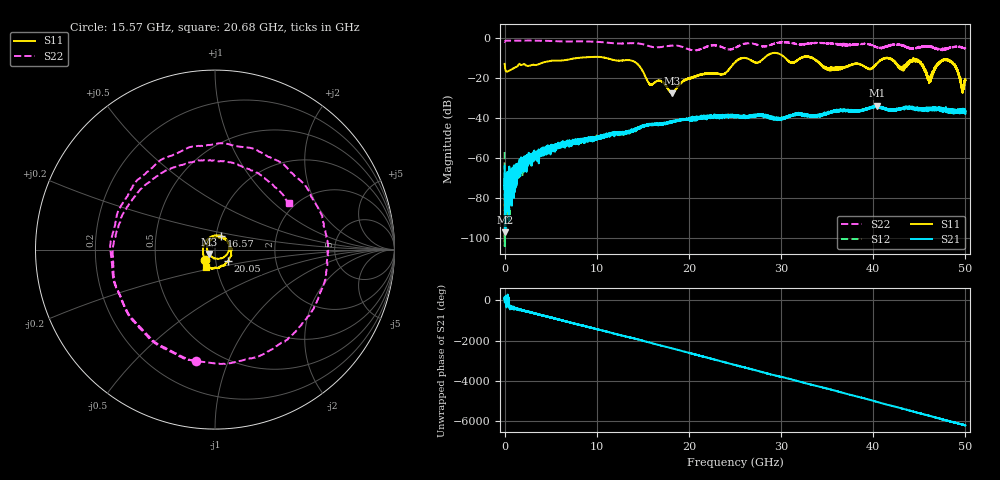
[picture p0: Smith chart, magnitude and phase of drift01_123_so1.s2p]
!Created with skrf (http://scikit-rf.org).
# Hz S RI R 50.0
!freq ReS11 ImS11 ReS21 ImS21 ReS12 ImS12 ReS22 ImS22
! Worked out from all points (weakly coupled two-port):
!   10001 points, 300 kHz to 50 GHz, reference 50 ohm
!   highest |S21| = -33.95 dB at 40.39 GHz (marker M1); lowest = -97.0 dB at 85.3 MHz (marker M2)
!   lowest |S11| = -27.6 dB at 18.13 GHz (marker M3), VSWR 1.09, Z = 46.6 - j2.23 ohm
!   |S11| at or under -10 dB: start of sweep to 8.084 GHz; 10.92 GHz to 28.2 GHz (17.28 GHz wide, 88.4 % of centre); 41.54 GHz to end of sweep (the widest 3 of 10)
!   |S22| runs from -6.4 to -1.4 dB; largest |S21 - S12| = 0.0037
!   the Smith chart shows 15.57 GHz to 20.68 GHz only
!   S11 on the Smith chart (normalised r, x): 15.57 GHz: 0.89, -0.10; 16.57 GHz: 1.06, +0.16; 20.05 GHz: 1.15, -0.15; 20.68 GHz: 0.89, -0.18
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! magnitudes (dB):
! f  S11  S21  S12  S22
! 300 kHz  -13.0  -64.0  -57.0  -2.1
! 85.3 MHz  -15.9  -97.0  -82.8  -1.5
! 255.3 MHz  -16.9  -75.4  -74.4  -1.4
! 2.585 GHz  -14.0  -61.8  -59.9  -1.4
! 8.335 GHz  -9.9  -51.1  -51.2  -1.8
! 13.86 GHz  -11.5  -46.4  -46.4  -2.7
! 15.57 GHz  -22.1  -43.9  -43.6  -4.0
! 16.57 GHz  -21.5  -43.2  -43.0  -4.7
! 16.67 GHz  -21.4  -43.0  -43.2  -4.8
! 18.13 GHz  -27.6  -42.4  -41.9  -3.9
! 20.05 GHz  -20.1  -40.5  -40.6  -5.9
! 20.68 GHz  -19.2  -40.1  -40.6  -6.3
! 25 GHz  -12.2  -39.0  -39.0  -5.0
! 33.34 GHz  -10.0  -39.1  -38.9  -2.7
! 35.25 GHz  -15.6  -37.4  -37.2  -2.9
! 40.39 GHz  -12.8  -34.0  -34.2  -4.9
! 41.67 GHz  -10.2  -35.7  -36.0  -4.0
! 43.1 GHz  -14.6  -35.3  -35.3  -3.7
! 44.82 GHz  -11.4  -35.7  -35.2  -5.1
! 46.11 GHz  -20.5  -35.5  -35.1  -4.3
! 48.07 GHz  -11.1  -36.0  -36.1  -5.0
! 50 GHz  -21.2  -36.8  -36.7  -5.4
